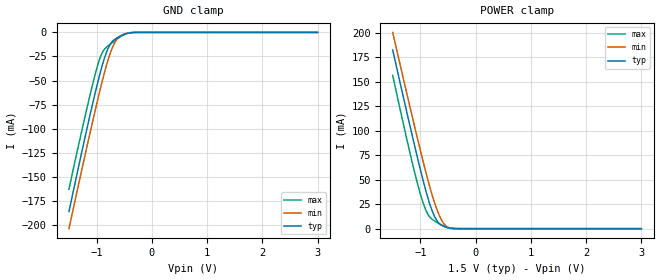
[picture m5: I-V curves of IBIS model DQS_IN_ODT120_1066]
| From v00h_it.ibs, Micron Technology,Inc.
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| MODEL DQS_IN_ODT120_1066 (Data Strobe Input with 120ohm ODT, 800/1066Mbps)
[Model]   DQS_IN_ODT120_1066
Model_type   Input
Vinl = 575.000mV
Vinh = 925.000mV
|   typ   min   max
|C_comp   1.071pF   0.991pF   1.154pF
C_comp_power_clamp   0.5355pF   0.4955pF   0.5770pF
C_comp_gnd_clamp   0.5355pF   0.4955pF   0.5770pF
| Note: C_comp changes when the ODT circuit is enabled.
[Model Spec]
| Input threshold voltage corners
Vinl   0.5750V   0.5375V   0.6125V
Vinh   0.9250V   0.8875V   0.9625V
| Dynamic Overshoot Parameters from DDR3 Specification
|D_overshoot_ampl_h   0.40   NA   NA
|D_overshoot_ampl_l   0.40   NA   NA
|D_overshoot_area_h   0.19n   NA   NA
|D_overshoot_area_l   0.19n   NA   NA
[Receiver Thresholds]
|Vth   =  0.750V
|Vth_min  =  0.7350V
|Vth_max  =  0.7650V
|Vinh_ac  =  0.175V
|Vinh_dc  =  0.100V
|Vinl_ac  = -0.175V
|Vinl_dc  = -0.100V
|Tslew_ac =  5.000ns |Not specified, so set to high value
|Threshold_sensitivity = 0.50
|Reference_supply Power_clamp_ref
|NOTE: If using the IBISCHK 4.2.1 or older parser, Differential receiver
|threshold parameters must be commented out because the parser generates
|errors for multiple differential models.
Vcross_low   = 0.600V
Vcross_high  = 0.900V
Vdiff_ac   = 350mV
Vdiff_dc   = 200mV
Tdiffslew_ac = 10.000ns |Not specified, so set to high value
[Voltage Range]   1.5000V   1.4250V   1.5750V
[POWER Clamp Reference]   1.5000V   1.4250V   1.5750V
| Junction Temperature (Ambient temp is 35C typ, 95C min, -40C max)
[Temperature Range]   50.0   110.0   -40.0
[Add Submodel]
| Submodel Name   Mode
120ohm_ODT_1066   Non-Driving
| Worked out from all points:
|   GND clamp passes 1 mA (typ) near -0.44 V on its own axis
|   POWER clamp passes 1 mA (typ) near -0.50 V on its own axis
[GND Clamp]
|   Voltage   I(typ)   I(min)   I(max)
-1.5V     -186mA     -203.8mA   -162.9mA
-1.33V    -140.6mA   -159mA     -118mA
-1.16V    -96.29mA   -115mA     -75.17mA
-1.025V   -62.75mA   -81.02mA   -43.46mA
-955mV    -46.52mA   -64.07mA   -29.42mA
-875mV    -29.9mA    -45.65mA   -18.9mA
-780mV    -15.32mA   -26.33mA   -13.39mA
-690mV    -8.081mA   -12.81mA   -9.414mA
-595mV    -4.546mA   -4.833mA   -5.588mA
-495mV    -1.973mA   -1.623mA   -2.281mA
-350mV    -169.9uA   -150.1uA   -108.9uA
3V        0A         0A         0A
[POWER Clamp]
|   Voltage   I(typ)   I(min)   I(max)
-1.5V     182.5mA    200.5mA    156.6mA
-1.13V    91.09mA    110.6mA    63.67mA
-1.025V   66.3mA     85.93mA    40.54mA
-940mV    47.17mA    66.52mA    24.81mA
-845mV    27.99mA    45.93mA    13.09mA
-735mV    11.71mA    25.19mA    7.634mA
-680mV    6.638mA    16.76mA    5.727mA
-625mV    3.817mA    9.777mA    3.983mA
-535mV    1.566mA    2.695mA    1.641mA
-455mV    515.8uA    642.7uA    415.3uA
-305mV    19.82uA    29.17uA    4.376uA
3V        0A         0A         0A
